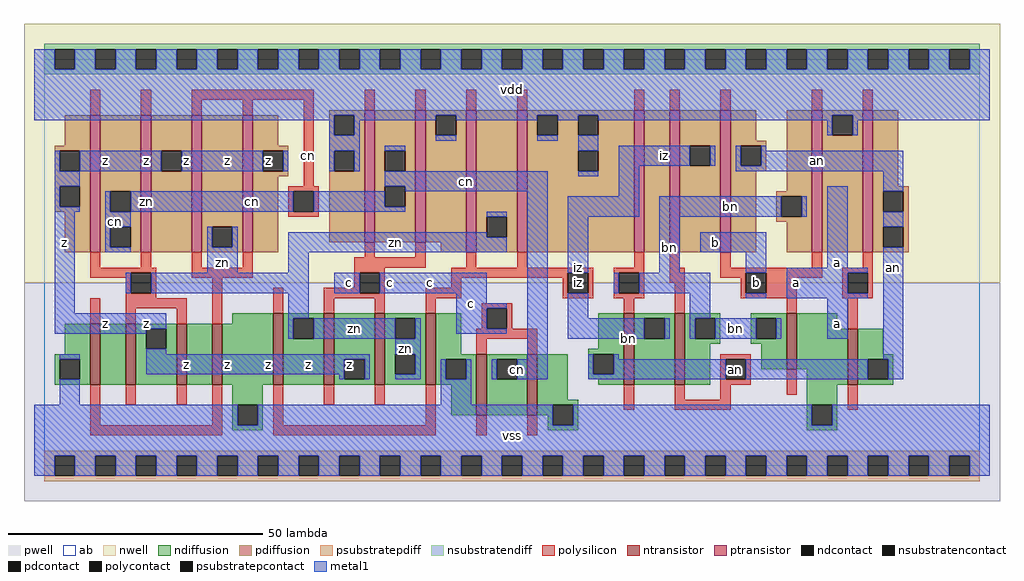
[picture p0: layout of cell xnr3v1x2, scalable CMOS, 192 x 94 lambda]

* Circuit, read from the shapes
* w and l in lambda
.subckt xnr3v1x2 a an b bn c cn iz vdd vss z zn
M1 n1 cn vss vss nfet w=12 l=2
M2 z zn n1 vss nfet w=12 l=2
M3 n2 zn z vss nfet w=12 l=2
M4 vss cn n2 vss nfet w=12 l=2
M5 zn iz vss vss nfet w=14 l=2 m=2
M6 z c zn vss nfet w=14 l=2 m=2
M7 cn c vss vss nfet w=12 l=2 m=2
M8 iz bn an vss nfet w=14 l=2
M9 bn an iz vss nfet w=14 l=2
M10 vss b bn vss nfet w=11 l=2
M11 an a vss vss nfet w=11 l=2
M12 cn zn z vdd pfet w=27 l=2 m=2
M13 zn cn z vdd pfet w=27 l=2 m=2
M14 cn c vdd vdd pfet w=26 l=2 m=2
M15 zn iz vdd vdd pfet w=28 l=2 m=2
M16 n3 bn vdd vdd pfet w=28 l=2
M17 iz an n3 vdd pfet w=28 l=2
M18 an b iz vdd pfet w=28 l=2
M19 vdd b bn vdd pfet w=28 l=2
M20 an a vdd vdd pfet w=28 l=2
.ends

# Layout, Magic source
magic
tech scmos
<< ab >>
rect 0 0 184 80
<< pwell >>
rect -4 -7 188 36
<< nwell >>
rect -4 36 188 87
<< polysilicon >>
rect 9 69 11 74
rect 19 69 21 74
rect 29 72 53 74
rect 29 69 31 72
rect 39 69 41 72
rect 51 55 53 72
rect 63 70 65 74
rect 73 70 75 74
rect 83 70 85 74
rect 93 70 95 74
rect 116 70 118 74
rect 123 70 125 74
rect 133 70 135 74
rect 151 70 153 74
rect 161 70 163 74
rect 48 54 54 55
rect 48 50 49 54
rect 53 50 54 54
rect 48 49 54 50
rect 9 39 11 42
rect 19 39 21 42
rect 29 39 31 42
rect 39 39 41 42
rect 63 41 65 44
rect 73 41 75 44
rect 9 38 22 39
rect 9 37 17 38
rect 16 34 17 37
rect 21 34 22 38
rect 29 37 41 39
rect 61 39 75 41
rect 83 39 85 42
rect 93 39 95 42
rect 116 39 118 42
rect 61 38 67 39
rect 16 33 22 34
rect 9 28 11 33
rect 16 31 28 33
rect 16 28 18 31
rect 26 28 28 31
rect 33 28 35 37
rect 61 35 62 38
rect 45 30 47 35
rect 55 34 62 35
rect 66 34 67 38
rect 80 38 108 39
rect 80 37 103 38
rect 80 35 82 37
rect 55 33 67 34
rect 55 30 57 33
rect 65 30 67 33
rect 75 33 82 35
rect 102 34 103 37
rect 107 34 108 38
rect 102 33 108 34
rect 112 38 118 39
rect 112 34 113 38
rect 117 34 118 38
rect 123 39 125 42
rect 133 39 135 42
rect 151 39 153 42
rect 161 39 163 42
rect 123 36 126 39
rect 133 38 153 39
rect 133 37 138 38
rect 112 33 118 34
rect 75 30 77 33
rect 86 31 92 32
rect 86 27 87 31
rect 91 27 92 31
rect 114 30 116 33
rect 124 30 126 36
rect 137 34 138 37
rect 142 37 153 38
rect 157 38 163 39
rect 142 34 148 37
rect 137 33 148 34
rect 157 34 158 38
rect 162 34 163 38
rect 157 33 163 34
rect 146 30 148 33
rect 85 25 97 27
rect 85 22 87 25
rect 95 22 97 25
rect 9 8 11 16
rect 16 12 18 16
rect 26 12 28 16
rect 33 8 35 16
rect 9 6 35 8
rect 45 8 47 16
rect 55 12 57 16
rect 65 12 67 16
rect 75 8 77 16
rect 133 21 139 22
rect 133 17 134 21
rect 138 17 139 21
rect 158 27 160 33
rect 133 16 139 17
rect 45 6 77 8
rect 85 6 87 10
rect 95 6 97 10
rect 114 11 116 16
rect 124 13 126 16
rect 133 13 135 16
rect 146 14 148 19
rect 124 11 135 13
rect 158 11 160 16
<< ndiffusion >>
rect 37 28 45 30
rect 4 22 9 28
rect 2 21 9 22
rect 2 17 3 21
rect 7 17 9 21
rect 2 16 9 17
rect 11 16 16 28
rect 18 27 26 28
rect 18 23 20 27
rect 24 23 26 27
rect 18 16 26 23
rect 28 16 33 28
rect 35 16 45 28
rect 47 29 55 30
rect 47 25 49 29
rect 53 25 55 29
rect 47 16 55 25
rect 57 21 65 30
rect 57 17 59 21
rect 63 17 65 21
rect 57 16 65 17
rect 67 29 75 30
rect 67 25 69 29
rect 73 25 75 29
rect 67 22 75 25
rect 67 18 69 22
rect 73 18 75 22
rect 67 16 75 18
rect 77 22 82 30
rect 109 23 114 30
rect 107 22 114 23
rect 77 21 85 22
rect 77 17 79 21
rect 83 17 85 21
rect 77 16 85 17
rect 37 12 43 16
rect 37 8 38 12
rect 42 8 43 12
rect 37 7 43 8
rect 80 10 85 16
rect 87 21 95 22
rect 87 17 89 21
rect 93 17 95 21
rect 87 10 95 17
rect 97 13 103 22
rect 107 18 108 22
rect 112 18 114 22
rect 107 17 114 18
rect 109 16 114 17
rect 116 29 124 30
rect 116 25 118 29
rect 122 25 124 29
rect 116 16 124 25
rect 126 29 133 30
rect 126 25 128 29
rect 132 25 133 29
rect 126 24 133 25
rect 139 29 146 30
rect 139 25 140 29
rect 144 25 146 29
rect 139 24 146 25
rect 126 16 131 24
rect 141 19 146 24
rect 148 27 156 30
rect 148 19 158 27
rect 97 12 105 13
rect 97 10 100 12
rect 99 8 100 10
rect 104 8 105 12
rect 150 16 158 19
rect 160 22 165 27
rect 160 21 167 22
rect 160 17 162 21
rect 166 17 167 21
rect 160 16 167 17
rect 150 12 156 16
rect 99 7 105 8
rect 150 8 151 12
rect 155 8 156 12
rect 150 7 156 8
<< pdiffusion >>
rect 4 63 9 69
rect 2 62 9 63
rect 2 58 3 62
rect 7 58 9 62
rect 2 55 9 58
rect 2 51 3 55
rect 7 51 9 55
rect 2 50 9 51
rect 4 42 9 50
rect 11 54 19 69
rect 11 50 13 54
rect 17 50 19 54
rect 11 47 19 50
rect 11 43 13 47
rect 17 43 19 47
rect 11 42 19 43
rect 21 62 29 69
rect 21 58 23 62
rect 27 58 29 62
rect 21 42 29 58
rect 31 47 39 69
rect 31 43 33 47
rect 37 43 39 47
rect 31 42 39 43
rect 41 63 46 69
rect 41 62 48 63
rect 41 58 43 62
rect 47 58 48 62
rect 41 57 48 58
rect 41 42 46 57
rect 56 69 63 70
rect 56 65 57 69
rect 61 65 63 69
rect 56 62 63 65
rect 56 58 57 62
rect 61 58 63 62
rect 56 44 63 58
rect 65 62 73 70
rect 65 58 67 62
rect 71 58 73 62
rect 65 55 73 58
rect 65 51 67 55
rect 71 51 73 55
rect 65 44 73 51
rect 75 69 83 70
rect 75 65 77 69
rect 81 65 83 69
rect 75 44 83 65
rect 78 42 83 44
rect 85 49 93 70
rect 85 45 87 49
rect 91 45 93 49
rect 85 42 93 45
rect 95 69 116 70
rect 95 65 97 69
rect 101 65 105 69
rect 109 65 116 69
rect 95 62 116 65
rect 95 58 105 62
rect 109 58 116 62
rect 95 42 116 58
rect 118 42 123 70
rect 125 63 133 70
rect 125 59 127 63
rect 131 59 133 63
rect 125 42 133 59
rect 135 64 140 70
rect 135 63 142 64
rect 135 59 137 63
rect 141 59 142 63
rect 135 58 142 59
rect 135 42 140 58
rect 146 54 151 70
rect 144 53 151 54
rect 144 49 145 53
rect 149 49 151 53
rect 144 48 151 49
rect 146 42 151 48
rect 153 69 161 70
rect 153 65 155 69
rect 159 65 161 69
rect 153 42 161 65
rect 163 55 168 70
rect 163 54 170 55
rect 163 50 165 54
rect 169 50 170 54
rect 163 47 170 50
rect 163 43 165 47
rect 169 43 170 47
rect 163 42 170 43
<< metal1 >>
rect -2 78 2 82
rect 6 78 10 82
rect 14 78 18 82
rect 22 78 26 82
rect 30 78 34 82
rect 38 78 42 82
rect 46 78 50 82
rect 54 78 58 82
rect 62 78 66 82
rect 70 78 74 82
rect 78 78 82 82
rect 86 78 90 82
rect 94 78 98 82
rect 102 78 106 82
rect 110 78 114 82
rect 118 78 122 82
rect 126 78 130 82
rect 134 78 138 82
rect 142 78 146 82
rect 150 78 154 82
rect 158 78 162 82
rect 166 78 170 82
rect 174 78 178 82
rect 182 78 186 82
rect -2 69 186 78
rect -2 68 57 69
rect 56 65 57 68
rect 61 68 77 69
rect 61 65 62 68
rect 56 62 62 65
rect 81 68 97 69
rect 77 64 81 65
rect 101 68 105 69
rect 97 64 101 65
rect 109 68 155 69
rect 154 65 155 68
rect 159 68 186 69
rect 159 65 160 68
rect 2 58 3 62
rect 7 58 23 62
rect 27 58 43 62
rect 47 58 48 62
rect 56 58 57 62
rect 61 58 62 62
rect 67 62 71 63
rect 105 62 109 65
rect 2 55 7 58
rect 2 51 3 55
rect 67 55 99 58
rect 105 57 109 58
rect 113 59 127 63
rect 131 59 132 63
rect 136 59 137 63
rect 141 62 142 63
rect 141 59 169 62
rect 2 50 7 51
rect 12 50 13 54
rect 17 50 49 54
rect 53 51 67 54
rect 71 54 99 55
rect 53 50 71 51
rect 2 30 6 50
rect 12 47 17 50
rect 87 49 91 50
rect 12 43 13 47
rect 12 42 17 43
rect 32 43 33 47
rect 37 43 38 47
rect 32 38 38 43
rect 48 45 87 46
rect 48 42 91 45
rect 48 38 52 42
rect 16 34 17 38
rect 21 34 52 38
rect 57 34 62 38
rect 66 34 87 38
rect 2 27 24 30
rect 2 26 20 27
rect 48 29 52 34
rect 81 32 87 34
rect 81 31 91 32
rect 48 25 49 29
rect 53 25 69 29
rect 73 25 74 29
rect 81 27 87 31
rect 81 26 91 27
rect 20 22 24 23
rect 69 22 74 25
rect 3 21 7 22
rect 20 21 64 22
rect 20 18 59 21
rect 58 17 59 18
rect 63 17 64 21
rect 73 18 74 22
rect 95 21 99 54
rect 113 53 117 59
rect 136 58 169 59
rect 103 49 117 53
rect 121 49 145 53
rect 149 49 150 53
rect 103 38 107 49
rect 121 38 125 49
rect 129 42 142 46
rect 138 38 142 42
rect 154 39 158 55
rect 165 54 169 58
rect 165 47 169 50
rect 112 34 113 38
rect 117 34 131 38
rect 103 29 107 34
rect 127 29 131 34
rect 138 33 142 34
rect 146 38 162 39
rect 146 34 158 38
rect 146 33 162 34
rect 103 25 118 29
rect 122 25 123 29
rect 127 25 128 29
rect 132 25 140 29
rect 144 25 145 29
rect 154 25 158 33
rect 69 17 74 18
rect 78 17 79 21
rect 83 17 84 21
rect 88 17 89 21
rect 93 17 99 21
rect 107 18 108 22
rect 112 21 113 22
rect 165 21 169 43
rect 112 18 134 21
rect 107 17 134 18
rect 138 17 162 21
rect 166 17 169 21
rect 3 12 7 17
rect 78 12 84 17
rect -2 8 38 12
rect 42 8 100 12
rect 104 8 151 12
rect 155 8 186 12
rect -2 2 186 8
rect -2 -2 2 2
rect 6 -2 10 2
rect 14 -2 18 2
rect 22 -2 26 2
rect 30 -2 34 2
rect 38 -2 42 2
rect 46 -2 50 2
rect 54 -2 58 2
rect 62 -2 66 2
rect 70 -2 74 2
rect 78 -2 82 2
rect 86 -2 90 2
rect 94 -2 98 2
rect 102 -2 106 2
rect 110 -2 114 2
rect 118 -2 122 2
rect 126 -2 130 2
rect 134 -2 138 2
rect 142 -2 146 2
rect 150 -2 154 2
rect 158 -2 162 2
rect 166 -2 170 2
rect 174 -2 178 2
rect 182 -2 186 2
<< ntransistor >>
rect 9 16 11 28
rect 16 16 18 28
rect 26 16 28 28
rect 33 16 35 28
rect 45 16 47 30
rect 55 16 57 30
rect 65 16 67 30
rect 75 16 77 30
rect 85 10 87 22
rect 95 10 97 22
rect 114 16 116 30
rect 124 16 126 30
rect 146 19 148 30
rect 158 16 160 27
<< ptransistor >>
rect 9 42 11 69
rect 19 42 21 69
rect 29 42 31 69
rect 39 42 41 69
rect 63 44 65 70
rect 73 44 75 70
rect 83 42 85 70
rect 93 42 95 70
rect 116 42 118 70
rect 123 42 125 70
rect 133 42 135 70
rect 151 42 153 70
rect 161 42 163 70
<< polycontact >>
rect 49 50 53 54
rect 17 34 21 38
rect 62 34 66 38
rect 103 34 107 38
rect 113 34 117 38
rect 87 27 91 31
rect 138 34 142 38
rect 158 34 162 38
rect 134 17 138 21
<< ndcontact >>
rect 3 17 7 21
rect 20 23 24 27
rect 49 25 53 29
rect 59 17 63 21
rect 69 25 73 29
rect 69 18 73 22
rect 79 17 83 21
rect 38 8 42 12
rect 89 17 93 21
rect 108 18 112 22
rect 118 25 122 29
rect 128 25 132 29
rect 140 25 144 29
rect 100 8 104 12
rect 162 17 166 21
rect 151 8 155 12
<< pdcontact >>
rect 3 58 7 62
rect 3 51 7 55
rect 13 50 17 54
rect 13 43 17 47
rect 23 58 27 62
rect 33 43 37 47
rect 43 58 47 62
rect 57 65 61 69
rect 57 58 61 62
rect 67 58 71 62
rect 67 51 71 55
rect 77 65 81 69
rect 87 45 91 49
rect 97 65 101 69
rect 105 65 109 69
rect 105 58 109 62
rect 127 59 131 63
rect 137 59 141 63
rect 145 49 149 53
rect 155 65 159 69
rect 165 50 169 54
rect 165 43 169 47
<< psubstratepcontact >>
rect 2 -2 6 2
rect 10 -2 14 2
rect 18 -2 22 2
rect 26 -2 30 2
rect 34 -2 38 2
rect 42 -2 46 2
rect 50 -2 54 2
rect 58 -2 62 2
rect 66 -2 70 2
rect 74 -2 78 2
rect 82 -2 86 2
rect 90 -2 94 2
rect 98 -2 102 2
rect 106 -2 110 2
rect 114 -2 118 2
rect 122 -2 126 2
rect 130 -2 134 2
rect 138 -2 142 2
rect 146 -2 150 2
rect 154 -2 158 2
rect 162 -2 166 2
rect 170 -2 174 2
rect 178 -2 182 2
<< nsubstratencontact >>
rect 2 78 6 82
rect 10 78 14 82
rect 18 78 22 82
rect 26 78 30 82
rect 34 78 38 82
rect 42 78 46 82
rect 50 78 54 82
rect 58 78 62 82
rect 66 78 70 82
rect 74 78 78 82
rect 82 78 86 82
rect 90 78 94 82
rect 98 78 102 82
rect 106 78 110 82
rect 114 78 118 82
rect 122 78 126 82
rect 130 78 134 82
rect 138 78 142 82
rect 146 78 150 82
rect 154 78 158 82
rect 162 78 166 82
rect 170 78 174 82
rect 178 78 182 82
<< psubstratepdiff >>
rect 0 2 184 3
rect 0 -2 2 2
rect 6 -2 10 2
rect 14 -2 18 2
rect 22 -2 26 2
rect 30 -2 34 2
rect 38 -2 42 2
rect 46 -2 50 2
rect 54 -2 58 2
rect 62 -2 66 2
rect 70 -2 74 2
rect 78 -2 82 2
rect 86 -2 90 2
rect 94 -2 98 2
rect 102 -2 106 2
rect 110 -2 114 2
rect 118 -2 122 2
rect 126 -2 130 2
rect 134 -2 138 2
rect 142 -2 146 2
rect 150 -2 154 2
rect 158 -2 162 2
rect 166 -2 170 2
rect 174 -2 178 2
rect 182 -2 184 2
rect 0 -3 184 -2
<< nsubstratendiff >>
rect 0 82 184 83
rect 0 78 2 82
rect 6 78 10 82
rect 14 78 18 82
rect 22 78 26 82
rect 30 78 34 82
rect 38 78 42 82
rect 46 78 50 82
rect 54 78 58 82
rect 62 78 66 82
rect 70 78 74 82
rect 78 78 82 82
rect 86 78 90 82
rect 94 78 98 82
rect 102 78 106 82
rect 110 78 114 82
rect 118 78 122 82
rect 126 78 130 82
rect 134 78 138 82
rect 142 78 146 82
rect 150 78 154 82
rect 158 78 162 82
rect 166 78 170 82
rect 174 78 178 82
rect 182 78 184 82
rect 0 77 184 78
<< labels >>
rlabel ptransistor 20 52 20 52 6 zn
rlabel polysilicon 52 61 52 61 6 cn
rlabel ntransistor 115 25 115 25 6 bn
rlabel polycontact 105 36 105 36 6 iz
rlabel polycontact 136 19 136 19 6 an
rlabel metal1 12 28 12 28 6 z
rlabel metal1 20 28 20 28 6 z
rlabel metal1 4 44 4 44 6 z
rlabel metal1 14 48 14 48 6 cn
rlabel metal1 20 60 20 60 6 z
rlabel metal1 12 60 12 60 6 z
rlabel metal1 28 20 28 20 6 z
rlabel metal1 52 20 52 20 6 z
rlabel metal1 44 20 44 20 6 z
rlabel metal1 36 20 36 20 6 z
rlabel metal1 35 40 35 40 6 zn
rlabel metal1 28 60 28 60 6 z
rlabel pdcontact 44 60 44 60 6 z
rlabel metal1 36 60 36 60 6 z
rlabel ndcontact 60 20 60 20 6 z
rlabel metal1 71 23 71 23 6 zn
rlabel metal1 61 27 61 27 6 zn
rlabel metal1 60 36 60 36 6 c
rlabel metal1 76 36 76 36 6 c
rlabel metal1 84 32 84 32 6 c
rlabel metal1 68 36 68 36 6 c
rlabel metal1 69 44 69 44 6 zn
rlabel metal1 41 52 41 52 6 cn
rlabel metal1 92 6 92 6 6 vss
rlabel metal1 93 19 93 19 6 cn
rlabel metal1 105 39 105 39 6 iz
rlabel metal1 83 56 83 56 6 cn
rlabel metal1 92 74 92 74 6 vdd
rlabel metal1 136 27 136 27 6 bn
rlabel metal1 113 27 113 27 6 iz
rlabel metal1 148 36 148 36 6 a
rlabel polycontact 140 36 140 36 6 b
rlabel metal1 132 44 132 44 6 b
rlabel metal1 123 43 123 43 6 bn
rlabel metal1 135 51 135 51 6 bn
rlabel metal1 122 61 122 61 6 iz
rlabel metal1 138 19 138 19 6 an
rlabel metal1 156 28 156 28 6 a
rlabel metal1 156 40 156 40 6 a
rlabel metal1 167 39 167 39 6 an
rlabel metal1 152 60 152 60 6 an
<< end >>
